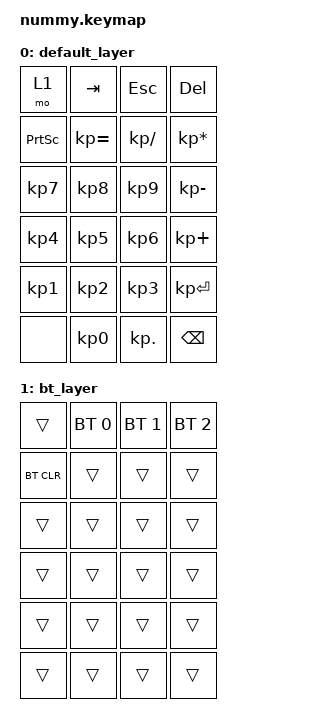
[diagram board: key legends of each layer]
#include <behaviors.dtsi>
#include <dt-bindings/zmk/keys.h>
#include <dt-bindings/zmk/bt.h>

/ {
    keymap {
        compatible = "zmk,keymap";

        default_layer {
            bindings = <
                &mo 1       &kp TAB         &kp ESC         &kp DEL
                &kp PSCRN   &kp KP_EQUAL    &kp KP_SLASH    &kp KP_MULTIPLY
                &kp KP_N7   &kp KP_N8       &kp KP_N9       &kp KP_SUBTRACT
                &kp KP_N4   &kp KP_N5       &kp KP_N6       &kp KP_PLUS
                &kp KP_N1   &kp KP_N2       &kp KP_N3       &kp KP_ENTER
                &none       &kp KP_N0       &kp KP_DOT      &kp BSPC
            >;
        };

        bt_layer {
            bindings = <
                &trans      &bt BT_SEL 0    &bt BT_SEL 1    &bt BT_SEL 2
                &bt BT_CLR      &trans          &trans          &trans
                &trans      &trans          &trans          &trans
                &trans      &trans          &trans          &trans
                &trans      &trans          &trans          &trans
                &trans      &trans          &trans          &trans
            >;
        };
    };
};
